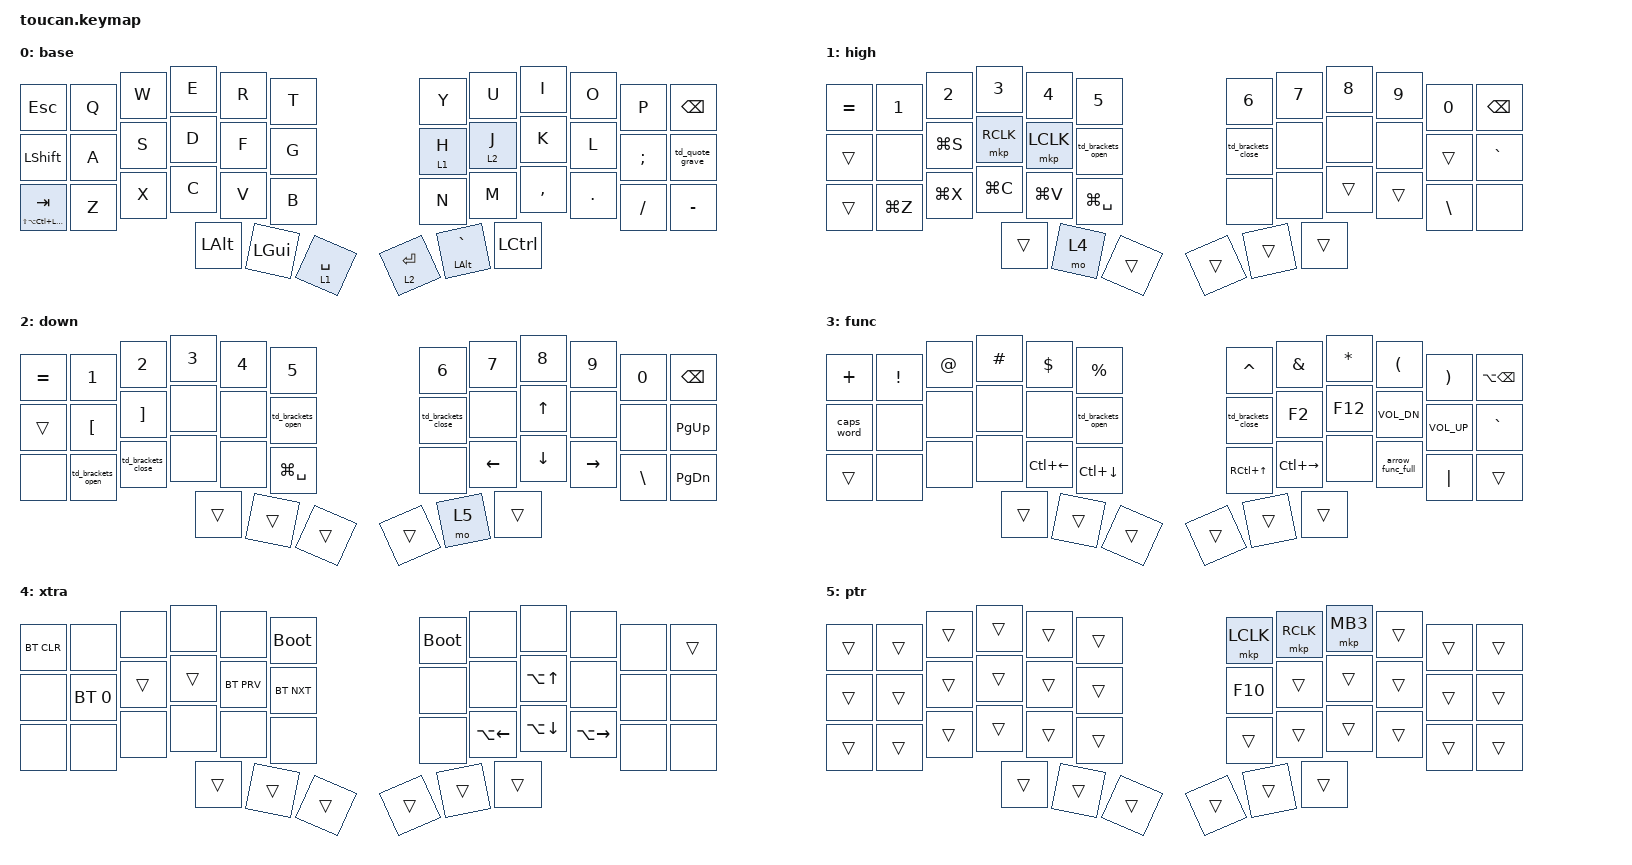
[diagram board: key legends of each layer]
#include <behaviors.dtsi>
#include <dt-bindings/zmk/pointing.h>
#include <dt-bindings/zmk/bt.h>
#include <dt-bindings/zmk/keys.h>
#include <dt-bindings/zmk/outputs.h>

#define DEFAULT 0
#define NUMBER  1
#define FN  2
#define HOTKEY  3

/ {
    macros {
        macro_layer1_pause_release: macro_layer1_pause_release {
            compatible = "zmk,behavior-macro";
            label = "macro_layer1_pause_release";
            #binding-cells = <0>;
            bindings =
                <&macro_press>,
                <&mo 1>,
                <&macro_pause_for_release>,
                <&macro_release>,
                <&mo 1>,
                <&macro_tap>,
                <&to 0>;
        };

        macro_layer2_pause_release: macro_layer2_pause_release {
            compatible = "zmk,behavior-macro";
            label = "macro_layer2_pause_release";
            #binding-cells = <0>;
            bindings =
                <&macro_press>,
                <&mo 2>,
                <&macro_pause_for_release>,
                <&macro_release>,
                <&mo 2>,
                <&macro_tap>,
                <&to 0>;
        };

        macro_cmd_space: macro_cmd_space {
            compatible = "zmk,behavior-macro";
            label = "macro_cmd_space";
            #binding-cells = <0>;
            bindings =
                <&macro_press>,
                <&kp LEFT_GUI>,
                <&macro_tap>,
                <&kp SPACE>,
                <&macro_release>,
                <&kp LEFT_GUI>;
        };

        macro_arrow_function: macro_arrow_function {
            compatible = "zmk,behavior-macro";
            label = "macro_arrow_function";
            #binding-cells = <0>;
            bindings =
                <&macro_tap>,
                <&kp EQUAL>,
                <&macro_tap>,
                <&kp GREATER_THAN>;
        };

        control_right: control_right {
            compatible = "zmk,behavior-macro";
            label = "control_right";
            #binding-cells = <0>;
            bindings =
                <&macro_press>,
                <&kp LEFT_CONTROL>,
                <&macro_tap>,
                <&kp RIGHT>,
                <&macro_release>,
                <&kp LEFT_CONTROL>;
        };

        control_left: control_left {
            compatible = "zmk,behavior-macro";
            label = "control_left";
            #binding-cells = <0>;
            bindings =
                <&macro_press>,
                <&kp LEFT_CONTROL>,
                <&macro_tap>,
                <&kp LEFT>,
                <&macro_release>,
                <&kp LEFT_CONTROL>;
        };

        emoji_press: emoji_press {
            compatible = "zmk,behavior-macro";
            label = "emoji_press";
            #binding-cells = <0>;
            bindings =
                <&macro_press>,
                <&kp LEFT_CONTROL &kp LEFT_COMMAND>,
                <&macro_tap>,
                <&kp SPACE>,
                <&macro_release>,
                <&kp LEFT_CONTROL &kp LEFT_COMMAND>;
        };

        arrow_functions: arrow_functions {
            compatible = "zmk,behavior-macro";
            label = "arrow_functions";
            #binding-cells = <0>;
            bindings =
                <&macro_tap>,
                <&kp LEFT_PARENTHESIS>,
                <&macro_tap>,
                <&kp RIGHT_PARENTHESIS>,
                <&macro_tap>,
                <&kp SPACE>,
                <&macro_tap>,
                <&kp EQUAL>,
                <&macro_tap>,
                <&kp GREATER_THAN>,
                <&macro_tap>,
                <&kp SPACE>,
                <&macro_tap>,
                <&kp LEFT_BRACE>,
                <&macro_tap>,
                <&kp RIGHT_BRACE>,
                <&macro_tap>,
                <&kp LEFT>;
        };
    };

    behaviors {
        ht_tp_l1: hold_tap_layer_1 {
            compatible = "zmk,behavior-hold-tap";
            label = "HOLD_TAP_LAYER_1";
            #binding-cells = <2>;
            flavor = "tap-preferred";
            tapping-term-ms = <200>;
            quick-tap-ms = <125>;
            global-quick-tap;
            bindings = <&macro_layer1_pause_release &kp>;
        };

        ht_tp_l2: hold_tap_layer_2 {
            compatible = "zmk,behavior-hold-tap";
            label = "HOLD_TAP_LAYER_2";
            #binding-cells = <2>;
            flavor = "tap-preferred";
            tapping-term-ms = <200>;
            quick-tap-ms = <125>;
            global-quick-tap;
            bindings = <&macro_layer2_pause_release &kp>;
        };

        td_ctrl_opt: tap_dance_control_option {
            compatible = "zmk,behavior-tap-dance";
            label = "TAP_DANCE_CONTROL_OPTION";
            #binding-cells = <0>;
            tapping-term-ms = <200>;
            bindings = <&kp LEFT_CONTROL>, <&kp LEFT_ALT>;
        };

        td_arrow_function: tap_dance_arrow_function {
            compatible = "zmk,behavior-tap-dance";
            label = "TAP_DANCE_ARROW_FUNCTION";
            #binding-cells = <0>;
            tapping-term-ms = <200>;
            bindings = <&kp SEMI>, <&macro_arrow_function>;
        };

        td_brackets_open: tap_dance_brackets_open {
            compatible = "zmk,behavior-tap-dance";
            label = "TAP_DANCE_BRACKETS_OPEN";
            #binding-cells = <0>;
            tapping-term-ms = <200>;
            bindings = <&kp LEFT_BRACE>, <&kp LBKT>, <&kp LEFT_PARENTHESIS>;
        };

        td_brackets_close: tap_dance_brackets_close {
            compatible = "zmk,behavior-tap-dance";
            label = "TAP_DANCE_BRACKETS_CLOSE";
            #binding-cells = <0>;
            tapping-term-ms = <200>;
            bindings = <&kp RIGHT_BRACE>, <&kp RBKT>, <&kp RIGHT_PARENTHESIS>;
        };

        arrow_func_full: arrow_func_full {
            compatible = "zmk,behavior-tap-dance";
            label = "ARROW_FUNC_FULL";
            #binding-cells = <0>;
            bindings = <&macro_arrow_function>, <&arrow_functions>;

            tapping-term-ms = <400>;
        };

        dbl_tap_hold: dbl_tap_hold {
            compatible = "zmk,behavior-tap-dance";
            label = "DBL_TAP_HOLD";
            #binding-cells = <0>;
            bindings = <&lt 2 ENTER>, <&lt 5 ENTER>;
        };

        td_opt_tog: td_opt_tog {
            compatible = "zmk,behavior-tap-dance";
            label = "TD_OPT_TOG";
            #binding-cells = <0>;
            bindings = <&kp LEFT_ALT>, <&kt LALT>;
        };

        td_quote_grave: td_quote_grave {
            compatible = "zmk,behavior-tap-dance";
            label = "TD_QUOTE_GRAVE";
            #binding-cells = <0>;
            bindings = <&kp SINGLE_QUOTE>, <&kp DOUBLE_QUOTES>, <&kp GRAVE>;

            tapping-term-ms = <150>;
        };

        td_ctrl_tog: td_ctrl_tog {
            compatible = "zmk,behavior-tap-dance";
            label = "TD_CTRL_TOG";
            #binding-cells = <0>;
            bindings = <&kp LEFT_CONTROL>, <&kt LCTRL>;
        };

        td_cmd_tog: td_cmd_tog {
            compatible = "zmk,behavior-tap-dance";
            label = "TD_CMD_TOG";
            #binding-cells = <0>;
            bindings = <&kp LGUI>, <&kt LGUI>;
        };

        mouse_cmd_tap: mouse_cmd_tap {
            compatible = "zmk,behavior-hold-tap";
            label = "MOUSE_CMD_TAP";
            #binding-cells = <2>;
            flavor = "balanced";
            tapping-term-ms = <200>;
            quick-tap-ms = <125>;
            bindings = <&kp>, <&mkp>;
        };

        mouse_cmd_tap_r: mouse_cmd_tap_r {
            compatible = "zmk,behavior-hold-tap";
            label = "MOUSE_CMD_TAP_R";
            #binding-cells = <2>;
            flavor = "balanced";
            tapping-term-ms = <200>;
            quick-tap-ms = <125>;
            bindings = <&kp>, <&mkp>;
        };
    };

    conditional_layers {
        compatible = "zmk,conditional-layers";

        tri_layer {
            if-layers = <1 2>;
            then-layer = <3>;
        };
    };

    combos {
        compatible = "zmk,combos";

        raycast {
            bindings = <&macro_cmd_space>;
            key-positions = <53 42>;
            layers = <0 3 1 2>;
        };

        esc {
            bindings = <&kp ESC>;
            key-positions = <1 2>;
            layers = <0 1 2 3 5 4>;
        };

        shift {
            bindings = <&kp LEFT_SHIFT>;
            key-positions = <13 14>;
            layers = <0 1 2 3 5 4>;
        };

        tab {
            bindings = <&kp TAB>;
            key-positions = <25 26>;
            layers = <3 2 1 0 4 5>;
        };

        bkspc {
            bindings = <&kp BACKSPACE>;
            key-positions = <10 9>;
        };

        quote {
            bindings = <&kp SINGLE_QUOTE>;
            key-positions = <22 21>;
        };

        minus {
            bindings = <&kp MINUS>;
            key-positions = <34 33>;
        };

        hr_tab {
            bindings = <&kp TAB>;
            key-positions = <16 15>;
        };

        fg_lclick {
            bindings = <&mkp LCLK>;
            key-positions = <16 17>;
            layers = <3 2 1 0 4 5>;
        };

        hj_lclick {
            bindings = <&mkp LCLK>;
            key-positions = <18 19>;
            layers = <3 2 1 0 4 5>;
        };

        jk_rclick {
            bindings = <&mkp RCLK>;
            key-positions = <19 20>;
            layers = <3 2 1 0 4 5>;
        };

        mouse_back {
            bindings = <&mkp MB4>;
            key-positions = <30 31>;
            layers = <3 2 1 0 4 5>;
        };

        mouse_forward {
            bindings = <&mkp MB5>;
            key-positions = <31 32>;
            layers = <3 2 1 0 4 5>;
        };
    };

    keymap {
        compatible = "zmk,keymap";

        Default {
            display-name = "base";
            // -----------------------------------------------------------------------------------------
            // |  TAB |  Q  |  W  |  E  |  R  |  T  |   |  Y  |  U   |  I  |  O  |  P  | BKSP |
            // | CTRL |  A  |  S  |  D  |  F  |  G  |   |  H  |  J   |  K  |  L  |  ;  |  '   |
            // | SHFT |  Z  |  X  |  C  |  V  |  B  |   |  N  |  M   |  ,  |  .  |  /  | ESC  |
            //                    | GUI | LWR | SPC |   | ENT | RSE  | ALT |

            bindings = <
&kp ESC                       &kp Q  &kp W  &kp E     &kp R         &kp T        &kp Y        &kp U           &kp I             &kp O    &kp P     &kp BSPC
&kp LEFT_SHIFT                &kp A  &kp S  &kp D     &kp F         &kp G        &lt 1 H      &lt 2 J         &kp K             &kp L    &kp SEMI  &td_quote_grave
&mt LS(LA(LC(LEFT_GUI))) TAB  &kp Z  &kp X  &kp C     &kp V         &kp B        &kp N        &kp M           &kp COMMA         &kp DOT  &kp FSLH  &kp MINUS
                                            &kp LALT  &kp LEFT_GUI  &lt 1 SPACE  &lt 2 ENTER  &mt LALT GRAVE  &kp LEFT_CONTROL
            >;

            label = "base";
        };

        Raise {
            display-name = "high";
            // -----------------------------------------------------------------------------------------
            // |  TAB |  1  |  2  |  3  |  4  |  5  |   |  6  |  7  |  8  |  9  |  0  | BKSP |
            // | BTCLR| BT1 | BT2 | BT3 | BT4 | BT5 |   | LFT | DWN |  UP | RGT |     |      |
            // | SHFT |     |     |     |     |     |   |     |     |     |     |     |      |
            //                    | GUI |     | SPC |   | ENT |     | ALT |

            bindings = <
&kp EQUAL  &kp N1     &kp N2     &kp N3     &kp N4     &kp N5             &kp N6              &kp N7  &kp N8  &kp N9  &kp N0         &kp BSPC
&trans     &none      &kp LG(S)  &mkp RCLK  &mkp LCLK  &td_brackets_open  &td_brackets_close  &none   &none   &none   &trans         &kp GRAVE
&trans     &kp LG(Z)  &kp LG(X)  &kp LG(C)  &kp LG(V)  &kp LG(SPACE)      &none               &none   &trans  &trans  &kp BACKSLASH  &none
                                 &trans     &mo 4      &trans             &trans              &trans  &trans
            >;

            label = "high";
        };

        Lower {
            display-name = "down";
            // -----------------------------------------------------------------------------------------
            // |  TAB |  !  |  @  |  #  |  $  |  %  |   |  ^  |  &  |  *  |  (  |  )  | BKSP |
            // | CTRL |     |     |     |     |     |   |  -  |  =  |  [  |  ]  |  \  |  `   |
            // | SHFT |     |     |     |     |     |   |  _  |  +  |  {  |  }  | "|" |  ~   |
            //                    | GUI |     | SPC |   | ENT |     | ALT |

            bindings = <
&kp EQUAL  &kp NUMBER_1       &kp NUMBER_2        &kp NUMBER_3  &kp NUMBER_4  &kp NUMBER_5       &kp NUMBER_6        &kp NUMBER_7  &kp NUMBER_8  &kp NUMBER_9  &kp NUMBER_0   &kp BSPC
&trans     &kp LBKT           &kp RBKT            &none         &none         &td_brackets_open  &td_brackets_close  &none         &kp UP        &none         &none          &kp PAGE_UP
&none      &td_brackets_open  &td_brackets_close  &none         &none         &kp LG(SPACE)      &none               &kp LEFT      &kp DOWN      &kp RIGHT     &kp BACKSLASH  &kp PAGE_DOWN
                                                  &trans        &trans        &trans             &trans              &mo 5         &trans
            >;

            label = "down";
        };

        RaiseLower {
            display-name = "func";
            bindings = <
&kp PLUS    &kp EXCL  &kp AT  &kp POUND  &kp DOLLAR    &kp PERCENT        &kp CARET           &kp AMPERSAND  &kp ASTERISK  &kp LEFT_PARENTHESIS  &kp RIGHT_PARENTHESIS  &kp LA(BACKSPACE)
&caps_word  &none     &none   &none      &none         &td_brackets_open  &td_brackets_close  &kp F2         &kp F12       &kp C_VOL_DN          &kp C_VOLUME_UP        &kp GRAVE
&trans      &none     &none   &none      &kp LC(LEFT)  &kp LC(DOWN)       &kp RC(UP_ARROW)    &kp LC(RIGHT)  &none         &arrow_func_full      &kp PIPE               &trans
                              &trans     &trans        &trans             &trans              &trans         &trans
            >;

            label = "func";
        };

        Navigation {
            display-name = "xtra";
            bindings = <
&bt BT_CLR  &none         &none   &none   &none       &bootloader  &bootloader  &none         &none         &none          &none  &trans
&none       &bt BT_SEL 0  &trans  &trans  &bt BT_PRV  &bt BT_NXT   &none        &none         &kp LA(UP)    &none          &none  &none
&none       &none         &none   &none   &none       &none        &none        &kp LA(LEFT)  &kp LA(DOWN)  &kp LA(RIGHT)  &none  &none
                                  &trans  &trans      &trans       &trans       &trans        &trans
            >;

            label = "xtra";
        };

        AutoMouse {
            display-name = "ptr";
            bindings = <
&trans  &trans  &trans  &trans  &trans  &trans  &mkp LCLK  &mkp RCLK  &mkp MB3  &trans  &trans  &trans
&trans  &trans  &trans  &trans  &trans  &trans  &kp F10    &trans     &trans    &trans  &trans  &trans
&trans  &trans  &trans  &trans  &trans  &trans  &trans     &trans     &trans    &trans  &trans  &trans
                        &trans  &trans  &trans  &trans     &trans     &trans
            >;
        };
    };
};
